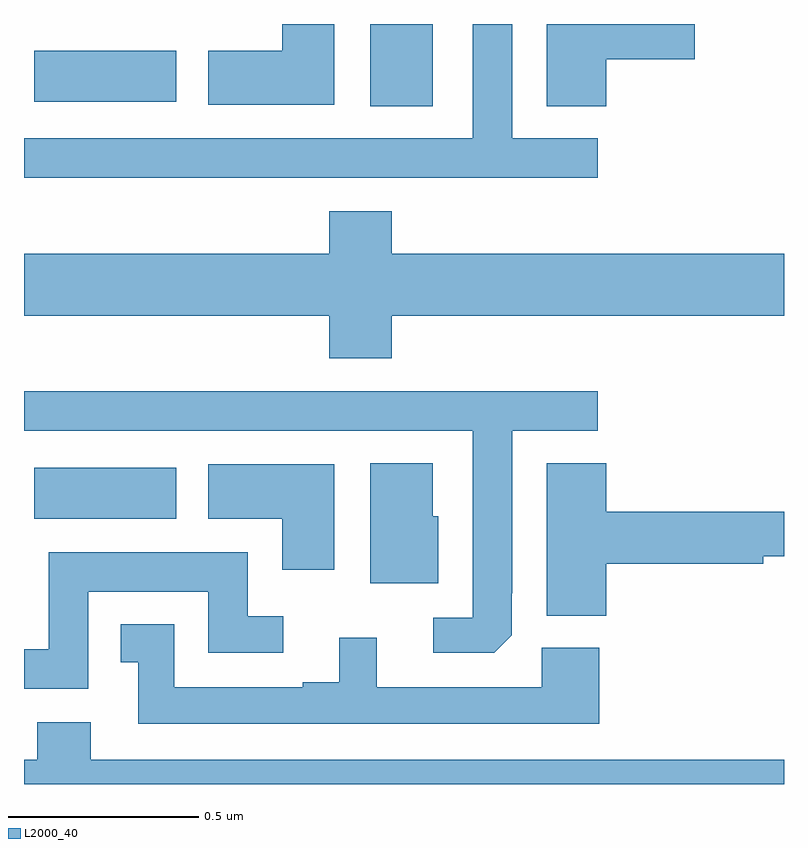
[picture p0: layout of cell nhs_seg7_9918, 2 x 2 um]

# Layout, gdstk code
import gdstk
lib = gdstk.Library(unit=1e-6, precision=1e-09)
def R(c, l, rs):  # rectangles x0, y0, x1, y1
    for r in rs: c.add(gdstk.rectangle(r[:2], r[2:], *l))
def P(c, l, *ps):  # polygons
    for p in ps: c.add(gdstk.Polygon(p, *l))
L2000_40 = (2000, 40)

nhs_seg7_9918 = lib.new_cell('nhs_seg7_9918')
R(nhs_seg7_9918, L2000_40, [(243.027,1050.698,243.4,1050.832), (243.911,1051.784,244.075,1052), (243.027,1051.796,243.4,1051.93)])
P(nhs_seg7_9918, L2000_40, [(244.532,1051.907),(244.765,1051.907),(244.765,1052),(244.376,1052),(244.376,1051.784),(244.532,1051.784)],
  [(244.51,1051.699),(244.285,1051.699),(244.285,1052),(244.181,1052),(244.181,1051.699),(243,1051.699),(243,1051.595),(244.51,1051.595)],
  [(243.817,1052),(243.68,1052),(243.68,1051.93),(243.485,1051.93),(243.485,1051.787),(243.817,1051.787)],
  [(243.968,1051.232),(245,1051.232),(245,1051.396),(243.968,1051.396),(243.968,1051.507),(243.803,1051.507),(243.803,1051.396),(243,1051.396),(243,1051.232),(243.803,1051.232),(243.803,1051.121),(243.968,1051.121)],
  [(244.284,1050.391),(244.284,1050.502),(244.285,1050.502),(244.285,1050.929),(244.51,1050.929),(244.51,1051.033),(243,1051.033),(243,1050.929),(244.181,1050.929),(244.181,1050.438),(244.077,1050.438),(244.077,1050.345),(244.238,1050.345)],
  [(244.532,1050.58),(244.946,1050.58),(244.946,1050.6),(245,1050.6),(245,1050.716),(244.532,1050.716),(244.532,1050.844),(244.376,1050.844),(244.376,1050.443),(244.532,1050.443)],
  [(244.09,1050.705),(244.075,1050.705),(244.075,1050.844),(243.911,1050.844),(243.911,1050.528),(244.09,1050.528)],
  [(243.817,1050.841),(243.485,1050.841),(243.485,1050.698),(243.68,1050.698),(243.68,1050.564),(243.817,1050.564)],
  [(243.169,1050.506),(243.485,1050.506),(243.485,1050.345),(243.682,1050.345),(243.682,1050.441),(243.589,1050.441),(243.589,1050.61),(243.065,1050.61),(243.065,1050.355),(243,1050.355),(243,1050.251),(243.169,1050.251)],
  [(244.514,1050.358),(244.362,1050.358),(244.362,1050.255),(243.928,1050.255),(243.928,1050.385),(243.83,1050.385),(243.83,1050.268),(243.734,1050.268),(243.734,1050.255),(243.396,1050.255),(243.396,1050.421),(243.254,1050.421),(243.254,1050.321),(243.3,1050.321),(243.3,1050.159),(244.514,1050.159)],
  [(245,1050.064),(243.175,1050.064),(243.175,1050.163),(243.035,1050.163),(243.035,1050.064),(243,1050.064),(243,1050),(245,1050)])

lib.write_gds('nhs_seg7_9918.gds')
